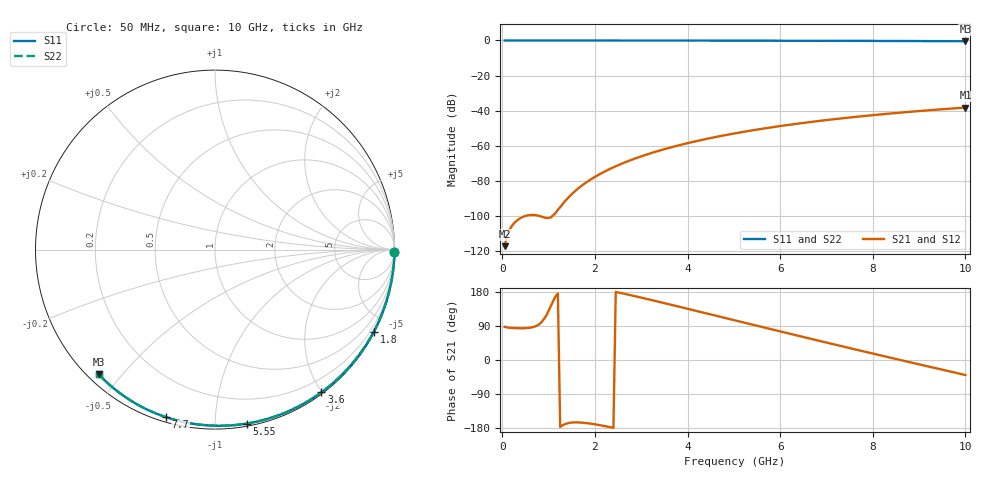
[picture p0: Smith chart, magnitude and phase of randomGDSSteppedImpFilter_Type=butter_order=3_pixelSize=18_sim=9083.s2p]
! freq	dB(S11)	phase(S11)	dB(S12)	phase(S12)
!  dB(S21)	phase(S21)	dB(S22)	phase(S22)
!S-par simulation data
#  GHz  S  DB  R 50
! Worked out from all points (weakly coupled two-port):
!   200 points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, 50 MHz to 10 GHz, reference 50 ohm
!   highest |S21| = -38.31 dB at 10 GHz (marker M1); lowest = -117.4 dB at 50 MHz (marker M2)
!   lowest |S11| = -0.4 dB at 10 GHz (marker M3), VSWR 39.15, Z = 1.52 - j21.7 ohm
!   |S11| at or under -10 dB: nowhere
!   |S22| runs from -0.4 to 0.0 dB; largest |S21 - S12| = 0
!   S11 on the Smith chart (normalised r, x): 50 MHz: open; 1.8 GHz: 0.04, -4.12; 3.6 GHz: 0.02, -1.99; 5.55 GHz: 0.02, -1.20; 7.7 GHz: 0.02, -0.75; 10 GHz: 0.03, -0.43
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0.05  -0.00 -0.8  -117.40 87.6  -117.40 87.6  -0.00 -0.8
0.9  -0.02 -13.8  -101.01 108.1  -101.01 108.1  -0.02 -13.8
1.75  -0.03 -26.5  -82.18 -165.6  -82.18 -165.6  -0.03 -26.5
1.8  -0.03 -27.3  -81.24 -166.3  -81.24 -166.3  -0.03 -27.3
1.85  -0.04 -28.0  -80.34 -167.0  -80.34 -167.0  -0.04 -28.0
1.9  -0.04 -28.8  -79.48 -167.8  -79.48 -167.8  -0.04 -28.8
2.05  -0.04 -31.0  -77.09 -170.7  -77.09 -170.7  -0.04 -31.0
2.25  -0.04 -33.9  -74.27 -175.3  -74.27 -175.3  -0.04 -33.9
2.45  -0.05 -36.8  -71.78 179.7  -71.78 179.7  -0.05 -36.8
2.65  -0.05 -39.8  -69.56 174.4  -69.56 174.4  -0.05 -39.8
3  -0.06 -44.8  -66.14 164.6  -66.14 164.6  -0.06 -44.8
3.4  -0.07 -50.5  -62.80 153.0  -62.80 153.0  -0.07 -50.5
3.6  -0.07 -53.3  -61.31 147.1  -61.31 147.1  -0.07 -53.3
4.3  -0.09 -63.0  -56.80 126.3  -56.80 126.3  -0.09 -63.0
5.05  -0.11 -73.1  -52.88 103.8  -52.88 103.8  -0.11 -73.1
5.55  -0.13 -79.6  -50.66 88.9  -50.66 88.9  -0.13 -79.6
6.1  -0.15 -86.6  -48.48 72.5  -48.48 72.5  -0.15 -86.6
6.7  -0.18 -94.1  -46.39 54.8  -46.39 54.8  -0.18 -94.1
7.7  -0.24 -106.3  -43.42 25.6  -43.42 25.6  -0.24 -106.3
8.35  -0.29 -114.0  -41.76 7.0  -41.76 7.0  -0.29 -114.0
9.15  -0.36 -123.3  -39.96 -15.7  -39.96 -15.7  -0.36 -123.3
10  -0.44 -133.1  -38.31 -39.6  -38.31 -39.6  -0.44 -133.1
